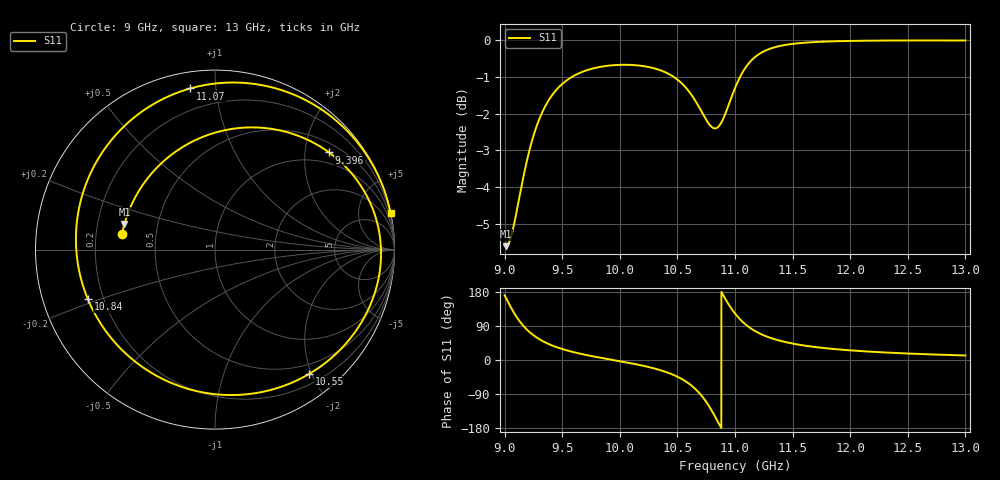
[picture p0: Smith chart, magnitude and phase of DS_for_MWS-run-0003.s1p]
! TOUCHSTONE file generated by CST DESIGN STUDIO
! Date and time: Wed Feb  5 13:36:09 2025
! Project name: C:\Work\MatlabApps\UnitCellOptimizationMatlab\CST\unitcell.cst
! Tree item: Tasks\Sweep1\SPara1\S-Parameters
! Header version: 2024
! Port assignment regex: !\s*Touchstone port\s*([0-9]+)\s*=\s*(CST MWS port|CST DES external port|CST DES block port)\s*(.+)\s* \(\"(.*)\"\)(\s*mode\s*([0-9]+))?.*
! Touchstone port assignment:
! Touchstone port 1 = CST DES external port 1 ("")
# GHz S MA R 50
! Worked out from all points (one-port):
!   4001 points, 9 GHz to 13 GHz, reference 50 ohm
!   lowest |S11| = -5.6 dB at 9.011 GHz (marker M1), VSWR 3.21, Z = 15.9 + j6.27 ohm
!   |S11| at or under -10 dB: nowhere
!   S11 on the Smith chart (normalised r, x): 9 GHz: 0.31, +0.07; 9.396 GHz: 0.71, +2.54; 10.55 GHz: 0.35, -1.97; 10.84 GHz: 0.14, -0.18; 11.07 GHz: 0.08, +0.86; 13 GHz: 0.03, +9.59
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9  0.5254 170.7
9.011  0.5244 164.1
9.093  0.5726 118.8
9.168  0.6573 88.3
9.279  0.7647 59.2
9.396  0.8349 40.4
9.5  0.872 29.0
9.715  0.9106 12.8
10  0.926 -3.1
10.3  0.9158 -22.4
10.5  0.8841 -44.1
10.553  0.869 -52.8
10.639  0.8353 -71.8
10.724  0.7923 -99.5
10.784  0.7658 -126.4
10.844  0.7602 -158.7
10.879  0.7717 -178.5
10.914  0.7929 162.3
10.959  0.8281 140.0
11  0.8608 122.7
11.073  0.9085 98.7
11.161  0.9451 78.8
11.254  0.9667 64.5
11.364  0.9803 53.0
11.5  0.9889 43.4
12  0.9981 25.5
12.5  0.9996 17.1
13  0.9994 11.9
